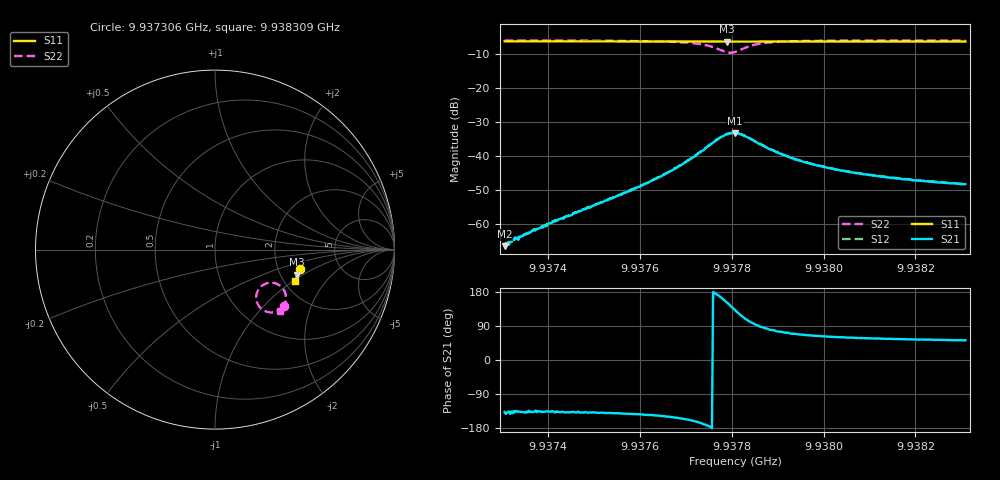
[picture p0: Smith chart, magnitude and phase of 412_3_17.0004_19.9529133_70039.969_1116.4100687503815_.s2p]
#  HZ  S  RI  R  50.00
! Rohde & Schwarz Vector Network Analyzer
! Rohde-Schwarz,ZNB20-2Port,1311601062101988,3.16
! Created: UTC 3/20/2024, 11:10:36 PM
! freq[Hz]  re:S11  im:S11  re:S21  im:S21  re:S12  im:S12  re:S22  im:S22
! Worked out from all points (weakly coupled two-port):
!   401 points, 9.937306 GHz to 9.938309 GHz, reference 50 ohm
!   highest |S21| = -33.35 dB at 9.937807 GHz (marker M1); lowest = -66.7 dB at 9.937306 GHz (marker M2)
!   lowest |S11| = -6.4 dB at 9.93779 GHz (marker M3), VSWR 2.84, Z = 123 - j44.7 ohm
!   |S11| at or under -10 dB: nowhere
!   |S22| runs from -9.7 to -6.1 dB; largest |S21 - S12| = 0.00086
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9.9373056e9  0.471 -0.1087  -0.000342 -0.000314  -0.000314 -0.000344  0.3837 -0.3169
9.9373182e9  0.4708 -0.1096  -0.000435 -0.000339  -0.000411 -0.00034  0.3829 -0.3178
9.9373282e9  0.4705 -0.1103  -0.000465 -0.000417  -0.000422 -0.000402  0.382 -0.3189
9.9373408e9  0.4703 -0.1112  -0.000472 -0.000446  -0.000433 -0.000401  0.3812 -0.3196
9.9374035e9  0.469 -0.1153  -0.000733 -0.000696  -0.000742 -0.000709  0.3758 -0.3244
9.9374737e9  0.4676 -0.1202  -0.00116 -0.00104  -0.00118 -0.00103  0.3684 -0.3301
9.9375765e9  0.4653 -0.127  -0.00237 -0.00186  -0.00245 -0.00186  0.3529 -0.34
9.9376417e9  0.4636 -0.1314  -0.00404 -0.00262  -0.00412 -0.00262  0.3358 -0.3467
9.9376944e9  0.462 -0.1349  -0.0069 -0.00319  -0.00707 -0.00315  0.3098 -0.3498
9.9377395e9  0.4604 -0.138  -0.012 -0.00208  -0.0124 -0.00208  0.2681 -0.3371
9.9377646e9  0.4593 -0.1393  -0.0164 0.00132  -0.0168 0.00163  0.2381 -0.3035
9.9377897e9  0.4581 -0.1399  -0.0181 0.00964  -0.0183 0.0103  0.2359 -0.235
9.9378072e9  0.4581 -0.1402  -0.0144 0.016  -0.0139 0.0167  0.2756 -0.193
9.9378248e9  0.4584 -0.1409  -0.0079 0.0184  -0.0076 0.0187  0.3279 -0.1857
9.9378423e9  0.4586 -0.1421  -0.00278 0.0172  -0.00239 0.0175  0.3648 -0.2029
9.9378624e9  0.4584 -0.1435  0.000607 0.0146  0.000869 0.0149  0.3855 -0.2283
9.9379176e9  0.4575 -0.1477  0.00307 0.00947  0.00323 0.00944  0.3951 -0.2753
9.9379402e9  0.457 -0.1494  0.00319 0.00815  0.00342 0.00821  0.3935 -0.2864
9.9379753e9  0.4562 -0.1518  0.00324 0.00674  0.00339 0.00678  0.3895 -0.2993
9.938043e9  0.4545 -0.1561  0.00299 0.00515  0.00312 0.00515  0.3821 -0.3144
9.9381433e9  0.4518 -0.1628  0.00267 0.00395  0.00276 0.00394  0.3728 -0.3283
9.9383088e9  0.4471 -0.1735  0.00233 0.00301  0.00242 0.00298  0.3602 -0.3425
